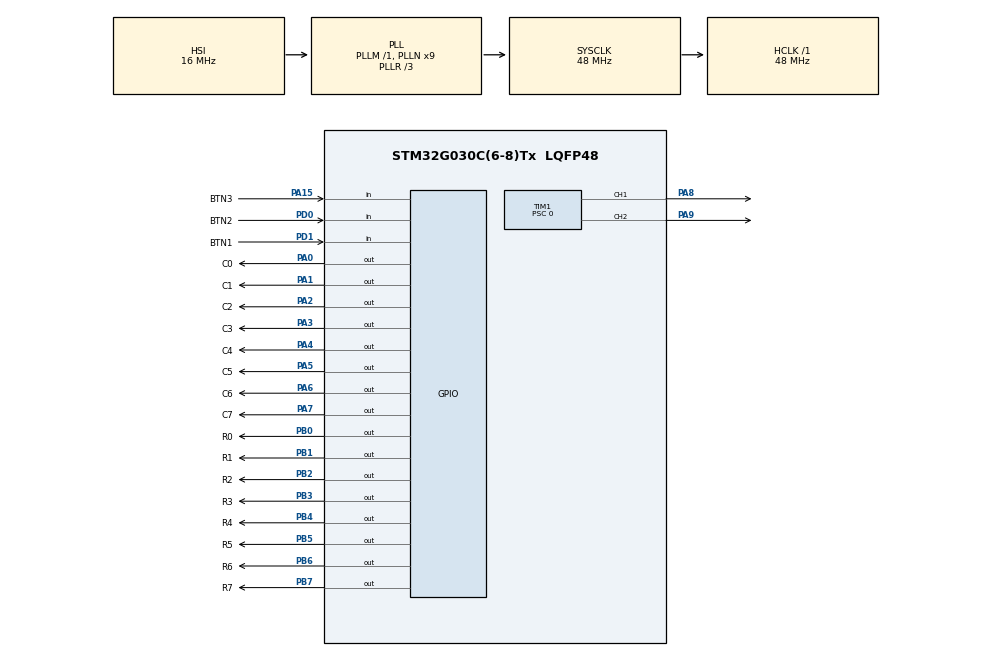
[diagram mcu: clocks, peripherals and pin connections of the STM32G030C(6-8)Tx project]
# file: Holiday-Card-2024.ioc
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ADC1.Channel-0\#ChannelRegularConversion=ADC_CHANNEL_VREFINT
ADC1.NbrOfConversionFlag=1
ADC1.Rank-0\#ChannelRegularConversion=1
ADC1.SamplingTime-0\#ChannelRegularConversion=ADC_SAMPLINGTIME_COMMON_1
ADC1.SamplingTimeCommon1=ADC_SAMPLETIME_39CYCLES_5
ADC1.SamplingTimeCommon2=ADC_SAMPLETIME_39CYCLES_5
ADC1.SelectedChannel=ADC_CHANNEL_VREFINT
ADC1.master=1
Mcu.Family=STM32G0
Mcu.Name=STM32G030C(6-8)Tx
Mcu.Package=LQFP48
NVIC.ADC1_IRQn=true\:0\:0\:false\:false\:true\:true\:true\:true
NVIC.TIM14_IRQn=true\:0\:0\:false\:false\:true\:true\:true\:true
NVIC.TIM16_IRQn=true\:0\:0\:false\:false\:true\:true\:true\:true
NVIC.TIM3_IRQn=true\:0\:0\:false\:false\:true\:true\:true\:true
PA0.GPIO_Label=C0
PA0.GPIO_Speed=GPIO_SPEED_FREQ_LOW
PA0.Signal=GPIO_Output
PA1.GPIO_Label=C1
PA1.GPIO_Speed=GPIO_SPEED_FREQ_LOW
PA1.Signal=GPIO_Output
PA13.Mode=Serial_Wire
PA13.Signal=SYS_SWDIO
PA14-BOOT0.Mode=Serial_Wire
PA14-BOOT0.Signal=SYS_SWCLK
PA15.GPIO_Label=BTN3
PA15.Signal=GPIO_Input
PA2.GPIO_Label=C2
PA2.GPIO_Speed=GPIO_SPEED_FREQ_LOW
PA2.Signal=GPIO_Output
PA3.GPIO_Label=C3
PA3.GPIO_Speed=GPIO_SPEED_FREQ_LOW
PA3.Signal=GPIO_Output
PA4.GPIO_Label=C4
PA4.GPIO_Speed=GPIO_SPEED_FREQ_LOW
PA4.Signal=GPIO_Output
PA5.GPIO_Label=C5
PA5.GPIO_Speed=GPIO_SPEED_FREQ_LOW
PA5.Signal=GPIO_Output
PA6.GPIO_Label=C6
PA6.GPIO_Speed=GPIO_SPEED_FREQ_LOW
PA6.Signal=GPIO_Output
PA7.GPIO_Label=C7
PA7.GPIO_Speed=GPIO_SPEED_FREQ_LOW
PA7.Signal=GPIO_Output
PA8.Signal=S_TIM1_CH1
PA9.Signal=S_TIM1_CH2
PB0.GPIO_Label=R0
PB0.GPIO_Speed=GPIO_SPEED_FREQ_LOW
PB0.Signal=GPIO_Output
PB1.GPIO_Label=R1
PB1.GPIO_Speed=GPIO_SPEED_FREQ_LOW
PB1.Signal=GPIO_Output
PB2.GPIO_Label=R2
PB2.GPIO_Speed=GPIO_SPEED_FREQ_LOW
PB2.Signal=GPIO_Output
PB3.GPIO_Label=R3
PB3.GPIO_Speed=GPIO_SPEED_FREQ_LOW
PB3.Signal=GPIO_Output
PB4.GPIO_Label=R4
PB4.GPIO_Speed=GPIO_SPEED_FREQ_LOW
PB4.Signal=GPIO_Output
PB5.GPIO_Label=R5
PB5.GPIO_Speed=GPIO_SPEED_FREQ_LOW
PB5.Signal=GPIO_Output
PB6.GPIO_Label=R6
PB6.GPIO_Speed=GPIO_SPEED_FREQ_LOW
PB6.Signal=GPIO_Output
PB7.GPIO_Label=R7
PB7.GPIO_Speed=GPIO_SPEED_FREQ_LOW
PB7.Signal=GPIO_Output
PC13.Mode=SYS_WakeUp1
PC13.Signal=SYS_WKUP2
PC14-OSC32_IN\ (PC14).Mode=LSE-External-Oscillator
PC14-OSC32_IN\ (PC14).Signal=RCC_OSC32_IN
PC15-OSC32_OUT\ (PC15).Mode=LSE-External-Oscillator
PC15-OSC32_OUT\ (PC15).Signal=RCC_OSC32_OUT
PD0.GPIO_Label=BTN2
PD0.Signal=GPIO_Input
PD1.GPIO_Label=BTN1
PD1.Signal=GPIO_Input
ProjectManager.HeapSize=0x200
ProjectManager.StackSize=0x400
ProjectManager.TargetToolchain=STM32CubeIDE
RCC.ADCFreq_Value=48000000
RCC.AHBFreq_Value=48000000
RCC.CortexFreq_Value=48000000
RCC.EXTERNAL_CLOCK_VALUE=12288000
RCC.HCLKFreq_Value=48000000
RCC.HSE_VALUE=8000000
RCC.HSI_VALUE=16000000
RCC.PLLN=9
RCC.PLLR=RCC_PLLR_DIV3
RCC.RTCClockSelection=RCC_RTCCLKSOURCE_LSE
RCC.SYSCLKFreq_VALUE=48000000
RCC.SYSCLKSource=RCC_SYSCLKSOURCE_PLLCLK
RCC.VCOOutputFreq_Value=144000000
SH.S_TIM1_CH1.0=TIM1_CH1,PWM Generation1 CH1
SH.S_TIM1_CH2.0=TIM1_CH2,PWM Generation2 CH2
TIM1.AutoReloadPreload=TIM_AUTORELOAD_PRELOAD_ENABLE
TIM1.Channel-PWM\ Generation1\ CH1=TIM_CHANNEL_1
TIM1.Channel-PWM\ Generation2\ CH2=TIM_CHANNEL_2
TIM1.Period=4000
TIM1.Prescaler=0
TIM14.Channel=TIM_CHANNEL_1
TIM14.OCMode_1=TIM_OCMODE_TIMING
TIM14.Period=416 - 1
TIM14.Prescaler=1600 - 1
TIM16.Prescaler=16000 - 1
TIM3.Channel-Output\ Compare1\ No\ Output=TIM_CHANNEL_1
TIM3.Channel-Output\ Compare2\ No\ Output=TIM_CHANNEL_2
TIM3.Period=41 - 1
TIM3.Prescaler=64 - 1
VP_ADC1_Vref_Input.Mode=IN-Vrefint
VP_RTC_VS_RTC_Activate.Mode=RTC_Enabled
VP_RTC_VS_RTC_Calendar.Mode=RTC_Calendar
VP_TIM14_VS_ClockSourceINT.Mode=Enable_Timer
VP_TIM14_VS_no_output1.Mode=Output Compare1 No Output
VP_TIM16_VS_ClockSourceINT.Mode=Enable_Timer
VP_TIM1_VS_ClockSourceINT.Mode=Internal
VP_TIM3_VS_ClockSourceINT.Mode=Internal
VP_TIM3_VS_no_output1.Mode=Output Compare1 No Output
VP_TIM3_VS_no_output2.Mode=Output Compare2 No Output
board=custom

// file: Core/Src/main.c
/* USER CODE BEGIN Header */
/**
  ******************************************************************************
  * @file           : main.c
  * @brief          : Main program body
  ******************************************************************************
  * @attention
  *
  * Copyright (c) 2024 STMicroelectronics.
  * All rights reserved.
  *
  * This software is licensed under terms that can be found in the LICENSE file
  * in the root directory of this software component.
  * If no LICENSE file comes with this software, it is provided AS-IS.
  *
  ******************************************************************************
  */
/* USER CODE END Header */
#include "main.h"

/* USER CODE BEGIN Includes */
#include "buzzer.h"
#include "display.h"
#include <stdio.h>
#include <string.h>
/* USER CODE END Includes */

/* USER CODE BEGIN PD */
#define NOTE_B0  31
#define NOTE_C1  33
#define NOTE_CS1 35
#define NOTE_D1  37
#define NOTE_DS1 39
#define NOTE_E1  41
#define NOTE_F1  44
#define NOTE_FS1 46
#define NOTE_G1  49
#define NOTE_GS1 52
#define NOTE_A1  55
#define NOTE_AS1 58
#define NOTE_B1  62
#define NOTE_C2  65
#define NOTE_CS2 69
#define NOTE_D2  73
#define NOTE_DS2 78
#define NOTE_E2  82
#define NOTE_F2  87
#define NOTE_FS2 93
#define NOTE_G2  98
#define NOTE_GS2 104
#define NOTE_A2  110
#define NOTE_AS2 117
#define NOTE_B2  123
#define NOTE_C3  131
#define NOTE_CS3 139
#define NOTE_D3  147
#define NOTE_DS3 156
#define NOTE_E3  165
#define NOTE_F3  175
#define NOTE_FS3 185
#define NOTE_G3  196
#define NOTE_GS3 208
#define NOTE_A3  220
#define NOTE_AS3 233
#define NOTE_B3  247
#define NOTE_C4  262
#define NOTE_CS4 277
#define NOTE_D4  294
#define NOTE_DS4 311
#define NOTE_E4  330
#define NOTE_F4  349
#define NOTE_FS4 370
#define NOTE_G4  392
#define NOTE_GS4 415
#define NOTE_A4  440
#define NOTE_AS4 466
#define NOTE_B4  494
#define NOTE_C5  523
#define NOTE_CS5 554
#define NOTE_D5  587
#define NOTE_DS5 622
#define NOTE_E5  659
#define NOTE_F5  698
#define NOTE_FS5 740
#define NOTE_G5  784
#define NOTE_GS5 831
#define NOTE_A5  880
#define NOTE_AS5 932
#define NOTE_B5  988
#define NOTE_C6  1047
#define NOTE_CS6 1109
#define NOTE_D6  1175
#define NOTE_DS6 1245
#define NOTE_E6  1319
#define NOTE_F6  1397
#define NOTE_FS6 1480
#define NOTE_G6  1568
#define NOTE_GS6 1661
#define NOTE_A6  1760
#define NOTE_AS6 1865
#define NOTE_B6  1976
#define NOTE_C7  2093
#define NOTE_CS7 2217
#define NOTE_D7  2349
#define NOTE_DS7 2489
#define NOTE_E7  2637
#define NOTE_F7  2794
#define NOTE_FS7 2960
#define NOTE_G7  3136
#define NOTE_GS7 3322
#define NOTE_A7  3520
#define NOTE_AS7 3729
#define NOTE_B7  3951
#define NOTE_C8  4186
#define NOTE_CS8 4435
#define NOTE_D8  4699
#define NOTE_DS8 4978

//#define noteSpace 24
//#define noteSpace2 12
//#define _16thNote 110
//#define dotted16th 165
//#define _8thNote 220
//#define dotted8th 330
#define _4thNote 440
#define dotted4th 660
#define halfNote 880
#define dottedHalf 1320
#define wholeNote 1760

#define noteSpace 12
#define noteSpace2 6
#define _16thNote 55
#define dotted16th 83
#define _8thNote 110
#define dotted8th 165

/* USER CODE END PD */

ADC_HandleTypeDef hadc1;

RTC_HandleTypeDef hrtc;

TIM_HandleTypeDef htim1;
TIM_HandleTypeDef htim3;
TIM_HandleTypeDef htim14;
TIM_HandleTypeDef htim16;

void SystemClock_Config(void);
static void MX_GPIO_Init(void);
static void MX_RTC_Init(void);
static void MX_TIM14_Init(void);
static void MX_TIM16_Init(void);
static void MX_TIM1_Init(void);
static void MX_ADC1_Init(void);
static void MX_TIM3_Init(void);
/* USER CODE BEGIN PFP */
void writeLED(uint8_t LED, uint8_t state);
void generate_BSRR_array(uint8_t pixel_values[8], volatile uint32_t BSRR_row_array[64], volatile uint32_t BSRR_column_array[64]);
/* USER CODE END PFP */

/* USER CODE BEGIN 0 */

volatile uint8_t pixel_index = 0;
volatile uint32_t test_row_array[64] = {0};
volatile uint32_t test_column_array[64] = {0};

//Easy way to see if data being processed properly
static uint8_t test_image1[8] = {
0xFF,
0x0,
0xFF,
0x0,
0xFF,
0x0,
0xFF,
0x0,
};

static uint8_t test_image2[8] = {
0b10000000,
0x0,
0x0,
0x0,
0x0,
0x0,
0x0,
0x0,
};

static uint8_t test_image3[8] = {
0xFF,
0x0,
0x0,
0x0,
0x0,
0x0,
0x0,
0x0,
};

static uint8_t test_image4[8] = {
0xFF,
0xFF,
0xFF,
0xFF,
0xFF,
0xFF,
0xFF,
0xFF,
};

display_HandleTypeDef display;
buzzer_HandleTypeDef buzzer;

/* USER CODE END 0 */

int main(void)
{

  /* MCU Configuration--------------------------------------------------------*/

  /* Reset of all peripherals, Initializes the Flash interface and the Systick. */
  HAL_Init();

  /* Configure the system clock */
  SystemClock_Config();

  /* Initialize all configured peripherals */
  MX_GPIO_Init();
  MX_RTC_Init();
  MX_TIM14_Init();
  MX_TIM16_Init();
  MX_TIM1_Init();
  MX_ADC1_Init();
  MX_TIM3_Init();
  /* USER CODE BEGIN 2 */

	// Always calibrate ADC first
	HAL_ADCEx_Calibration_Start(&hadc1);

	// Start the conversion sequence
	HAL_ADC_Start(&hadc1);
	HAL_ADC_PollForConversion(&hadc1, 0xFFFF);
	uint32_t vrefint_raw = HAL_ADC_GetValue(&hadc1);
	/*
	 * This macro calculates the vdda voltage (as a uint32_t representing the voltage in milliVolts)
	 * using the vref internal raw adc value, and the internal calibration value in ROM
	 */
	uint32_t vdda_voltage = __HAL_ADC_CALC_VREFANALOG_VOLTAGE(vrefint_raw, ADC_RESOLUTION_12B);
	__NOP();

	/*
	 * Column is anode
	 * Row is cathode
	 * To turn on an LED, set the column high and the row low
	 */

	generate_BSRR_array(test_image1, test_row_array, test_column_array);
	HAL_TIM_Base_Start_IT(&htim3);
	__NOP();

  /* USER CODE END 2 */

  /* Infinite loop */
  /* USER CODE BEGIN WHILE */
  while (1)
  {
//	  GPIOB->BSRR = test_row_array[pixel_index];
//	  GPIOA->BSRR = test_column_array[pixel_index];
//	  //HAL_Delay(1);
//
//	  pixel_index++;
//
//	  if (pixel_index > 63){
//		  pixel_index = 0;
//	  }
	  //HAL_Delay(1000);

    /* USER CODE END WHILE */

  }
}

void SystemClock_Config(void)
{
  RCC_OscInitTypeDef RCC_OscInitStruct = {0};
  RCC_ClkInitTypeDef RCC_ClkInitStruct = {0};

  /** Configure the main internal regulator output voltage
  */
  HAL_PWREx_ControlVoltageScaling(PWR_REGULATOR_VOLTAGE_SCALE1);

  /** Configure LSE Drive Capability
  */
  HAL_PWR_EnableBkUpAccess();
  __HAL_RCC_LSEDRIVE_CONFIG(RCC_LSEDRIVE_LOW);

  /** Initializes the RCC Oscillators according to the specified parameters
  * in the RCC_OscInitTypeDef structure.
  */
  RCC_OscInitStruct.OscillatorType = RCC_OSCILLATORTYPE_HSI|RCC_OSCILLATORTYPE_LSE;
  RCC_OscInitStruct.LSEState = RCC_LSE_ON;
  RCC_OscInitStruct.HSIState = RCC_HSI_ON;
  RCC_OscInitStruct.HSIDiv = RCC_HSI_DIV1;
  RCC_OscInitStruct.HSICalibrationValue = RCC_HSICALIBRATION_DEFAULT;
  RCC_OscInitStruct.PLL.PLLState = RCC_PLL_ON;
  RCC_OscInitStruct.PLL.PLLSource = RCC_PLLSOURCE_HSI;
  RCC_OscInitStruct.PLL.PLLM = RCC_PLLM_DIV1;
  RCC_OscInitStruct.PLL.PLLN = 9;
  RCC_OscInitStruct.PLL.PLLP = RCC_PLLP_DIV2;
  RCC_OscInitStruct.PLL.PLLR = RCC_PLLR_DIV3;
  if (HAL_RCC_OscConfig(&RCC_OscInitStruct) != HAL_OK)
  {
    Error_Handler();
  }

  /** Initializes the CPU, AHB and APB buses clocks
  */
  RCC_ClkInitStruct.ClockType = RCC_CLOCKTYPE_HCLK|RCC_CLOCKTYPE_SYSCLK
                              |RCC_CLOCKTYPE_PCLK1;
  RCC_ClkInitStruct.SYSCLKSource = RCC_SYSCLKSOURCE_PLLCLK;
  RCC_ClkInitStruct.AHBCLKDivider = RCC_SYSCLK_DIV1;
  RCC_ClkInitStruct.APB1CLKDivider = RCC_HCLK_DIV1;

  if (HAL_RCC_ClockConfig(&RCC_ClkInitStruct, FLASH_LATENCY_1) != HAL_OK)
  {
    Error_Handler();
  }
}

static void MX_ADC1_Init(void)
{

  ADC_ChannelConfTypeDef sConfig = {0};

  /** Configure the global features of the ADC (Clock, Resolution, Data Alignment and number of conversion)
  */
  hadc1.Instance = ADC1;
  hadc1.Init.ClockPrescaler = ADC_CLOCK_SYNC_PCLK_DIV2;
  hadc1.Init.Resolution = ADC_RESOLUTION_12B;
  hadc1.Init.DataAlign = ADC_DATAALIGN_RIGHT;
  hadc1.Init.ScanConvMode = ADC_SCAN_DISABLE;
  hadc1.Init.EOCSelection = ADC_EOC_SINGLE_CONV;
  hadc1.Init.LowPowerAutoWait = DISABLE;
  hadc1.Init.LowPowerAutoPowerOff = DISABLE;
  hadc1.Init.ContinuousConvMode = DISABLE;
  hadc1.Init.NbrOfConversion = 1;
  hadc1.Init.DiscontinuousConvMode = DISABLE;
  hadc1.Init.ExternalTrigConv = ADC_SOFTWARE_START;
  hadc1.Init.ExternalTrigConvEdge = ADC_EXTERNALTRIGCONVEDGE_NONE;
  hadc1.Init.DMAContinuousRequests = DISABLE;
  hadc1.Init.Overrun = ADC_OVR_DATA_PRESERVED;
  hadc1.Init.SamplingTimeCommon1 = ADC_SAMPLETIME_39CYCLES_5;
  hadc1.Init.SamplingTimeCommon2 = ADC_SAMPLETIME_39CYCLES_5;
  hadc1.Init.OversamplingMode = DISABLE;
  hadc1.Init.TriggerFrequencyMode = ADC_TRIGGER_FREQ_HIGH;
  if (HAL_ADC_Init(&hadc1) != HAL_OK)
  {
    Error_Handler();
  }

  /** Configure Regular Channel
  */
  sConfig.Channel = ADC_CHANNEL_VREFINT;
  sConfig.Rank = ADC_REGULAR_RANK_1;
  sConfig.SamplingTime = ADC_SAMPLINGTIME_COMMON_1;
  if (HAL_ADC_ConfigChannel(&hadc1, &sConfig) != HAL_OK)
  {
    Error_Handler();
  }

}

static void MX_RTC_Init(void)
{

  RTC_TimeTypeDef sTime = {0};
  RTC_DateTypeDef sDate = {0};

  /** Initialize RTC Only
  */
  hrtc.Instance = RTC;
  hrtc.Init.HourFormat = RTC_HOURFORMAT_24;
  hrtc.Init.AsynchPrediv = 127;
  hrtc.Init.SynchPrediv = 255;
  hrtc.Init.OutPut = RTC_OUTPUT_DISABLE;
  hrtc.Init.OutPutRemap = RTC_OUTPUT_REMAP_NONE;
  hrtc.Init.OutPutPolarity = RTC_OUTPUT_POLARITY_HIGH;
  hrtc.Init.OutPutType = RTC_OUTPUT_TYPE_OPENDRAIN;
  hrtc.Init.OutPutPullUp = RTC_OUTPUT_PULLUP_NONE;
  if (HAL_RTC_Init(&hrtc) != HAL_OK)
  {
    Error_Handler();
  }

  /** Initialize RTC and set the Time and Date
  */
  sTime.Hours = 0x0;
  sTime.Minutes = 0x0;
  sTime.Seconds = 0x0;
  sTime.SubSeconds = 0x0;
  sTime.DayLightSaving = RTC_DAYLIGHTSAVING_NONE;
  sTime.StoreOperation = RTC_STOREOPERATION_RESET;
  if (HAL_RTC_SetTime(&hrtc, &sTime, RTC_FORMAT_BCD) != HAL_OK)
  {
    Error_Handler();
  }
  sDate.WeekDay = RTC_WEEKDAY_MONDAY;
  sDate.Month = RTC_MONTH_JANUARY;
  sDate.Date = 0x1;
  sDate.Year = 0x0;

  if (HAL_RTC_SetDate(&hrtc, &sDate, RTC_FORMAT_BCD) != HAL_OK)
  {
    Error_Handler();
  }

}

static void MX_TIM1_Init(void)
{

  TIM_ClockConfigTypeDef sClockSourceConfig = {0};
  TIM_MasterConfigTypeDef sMasterConfig = {0};
  TIM_OC_InitTypeDef sConfigOC = {0};
  TIM_BreakDeadTimeConfigTypeDef sBreakDeadTimeConfig = {0};

  htim1.Instance = TIM1;
  htim1.Init.Prescaler = 0;
  htim1.Init.CounterMode = TIM_COUNTERMODE_UP;
  htim1.Init.Period = 4000;
  htim1.Init.ClockDivision = TIM_CLOCKDIVISION_DIV1;
  htim1.Init.RepetitionCounter = 0;
  htim1.Init.AutoReloadPreload = TIM_AUTORELOAD_PRELOAD_ENABLE;
  if (HAL_TIM_Base_Init(&htim1) != HAL_OK)
  {
    Error_Handler();
  }
  sClockSourceConfig.ClockSource = TIM_CLOCKSOURCE_INTERNAL;
  if (HAL_TIM_ConfigClockSource(&htim1, &sClockSourceConfig) != HAL_OK)
  {
    Error_Handler();
  }
  if (HAL_TIM_PWM_Init(&htim1) != HAL_OK)
  {
    Error_Handler();
  }
  sMasterConfig.MasterOutputTrigger = TIM_TRGO_RESET;
  sMasterConfig.MasterOutputTrigger2 = TIM_TRGO2_RESET;
  sMasterConfig.MasterSlaveMode = TIM_MASTERSLAVEMODE_DISABLE;
  if (HAL_TIMEx_MasterConfigSynchronization(&htim1, &sMasterConfig) != HAL_OK)
  {
    Error_Handler();
  }
  sConfigOC.OCMode = TIM_OCMODE_PWM1;
  sConfigOC.Pulse = 0;
  sConfigOC.OCPolarity = TIM_OCPOLARITY_HIGH;
  sConfigOC.OCNPolarity = TIM_OCNPOLARITY_HIGH;
  sConfigOC.OCFastMode = TIM_OCFAST_DISABLE;
  sConfigOC.OCIdleState = TIM_OCIDLESTATE_RESET;
  sConfigOC.OCNIdleState = TIM_OCNIDLESTATE_RESET;
  if (HAL_TIM_PWM_ConfigChannel(&htim1, &sConfigOC, TIM_CHANNEL_1) != HAL_OK)
  {
    Error_Handler();
  }
  if (HAL_TIM_PWM_ConfigChannel(&htim1, &sConfigOC, TIM_CHANNEL_2) != HAL_OK)
  {
    Error_Handler();
  }
  sBreakDeadTimeConfig.OffStateRunMode = TIM_OSSR_DISABLE;
  sBreakDeadTimeConfig.OffStateIDLEMode = TIM_OSSI_DISABLE;
  sBreakDeadTimeConfig.LockLevel = TIM_LOCKLEVEL_OFF;
  sBreakDeadTimeConfig.DeadTime = 0;
  sBreakDeadTimeConfig.BreakState = TIM_BREAK_DISABLE;
  sBreakDeadTimeConfig.BreakPolarity = TIM_BREAKPOLARITY_HIGH;
  sBreakDeadTimeConfig.BreakFilter = 0;
  sBreakDeadTimeConfig.BreakAFMode = TIM_BREAK_AFMODE_INPUT;
  sBreakDeadTimeConfig.Break2State = TIM_BREAK2_DISABLE;
  sBreakDeadTimeConfig.Break2Polarity = TIM_BREAK2POLARITY_HIGH;
  sBreakDeadTimeConfig.Break2Filter = 0;
  sBreakDeadTimeConfig.Break2AFMode = TIM_BREAK_AFMODE_INPUT;
  sBreakDeadTimeConfig.AutomaticOutput = TIM_AUTOMATICOUTPUT_DISABLE;
  if (HAL_TIMEx_ConfigBreakDeadTime(&htim1, &sBreakDeadTimeConfig) != HAL_OK)
  {
    Error_Handler();
  }
  HAL_TIM_MspPostInit(&htim1);

}

static void MX_TIM3_Init(void)
{

  TIM_ClockConfigTypeDef sClockSourceConfig = {0};
  TIM_MasterConfigTypeDef sMasterConfig = {0};
  TIM_OC_InitTypeDef sConfigOC = {0};

  htim3.Instance = TIM3;
  htim3.Init.Prescaler = 64 - 1;
  htim3.Init.CounterMode = TIM_COUNTERMODE_UP;
  htim3.Init.Period = 41 - 1;
  htim3.Init.ClockDivision = TIM_CLOCKDIVISION_DIV1;
  htim3.Init.AutoReloadPreload = TIM_AUTORELOAD_PRELOAD_DISABLE;
  if (HAL_TIM_Base_Init(&htim3) != HAL_OK)
  {
    Error_Handler();
  }
  sClockSourceConfig.ClockSource = TIM_CLOCKSOURCE_INTERNAL;
  if (HAL_TIM_ConfigClockSource(&htim3, &sClockSourceConfig) != HAL_OK)
  {
    Error_Handler();
  }
  if (HAL_TIM_OC_Init(&htim3) != HAL_OK)
  {
    Error_Handler();
  }
  sMasterConfig.MasterOutputTrigger = TIM_TRGO_RESET;
  sMasterConfig.MasterSlaveMode = TIM_MASTERSLAVEMODE_DISABLE;
  if (HAL_TIMEx_MasterConfigSynchronization(&htim3, &sMasterConfig) != HAL_OK)
  {
    Error_Handler();
  }
  sConfigOC.OCMode = TIM_OCMODE_TIMING;
  sConfigOC.Pulse = 0;
  sConfigOC.OCPolarity = TIM_OCPOLARITY_HIGH;
  sConfigOC.OCFastMode = TIM_OCFAST_DISABLE;
  if (HAL_TIM_OC_ConfigChannel(&htim3, &sConfigOC, TIM_CHANNEL_1) != HAL_OK)
  {
    Error_Handler();
  }
  if (HAL_TIM_OC_ConfigChannel(&htim3, &sConfigOC, TIM_CHANNEL_2) != HAL_OK)
  {
    Error_Handler();
  }

}

static void MX_TIM14_Init(void)
{

  TIM_OC_InitTypeDef sConfigOC = {0};

  htim14.Instance = TIM14;
  htim14.Init.Prescaler = 1600 - 1;
  htim14.Init.CounterMode = TIM_COUNTERMODE_UP;
  htim14.Init.Period = 416 - 1;
  htim14.Init.ClockDivision = TIM_CLOCKDIVISION_DIV1;
  htim14.Init.AutoReloadPreload = TIM_AUTORELOAD_PRELOAD_DISABLE;
  if (HAL_TIM_Base_Init(&htim14) != HAL_OK)
  {
    Error_Handler();
  }
  if (HAL_TIM_OC_Init(&htim14) != HAL_OK)
  {
    Error_Handler();
  }
  sConfigOC.OCMode = TIM_OCMODE_TIMING;
  sConfigOC.Pulse = 0;
  sConfigOC.OCPolarity = TIM_OCPOLARITY_HIGH;
  sConfigOC.OCFastMode = TIM_OCFAST_DISABLE;
  if (HAL_TIM_OC_ConfigChannel(&htim14, &sConfigOC, TIM_CHANNEL_1) != HAL_OK)
  {
    Error_Handler();
  }

}

static void MX_TIM16_Init(void)
{

  htim16.Instance = TIM16;
  htim16.Init.Prescaler = 16000 - 1;
  htim16.Init.CounterMode = TIM_COUNTERMODE_UP;
  htim16.Init.Period = 65535;
  htim16.Init.ClockDivision = TIM_CLOCKDIVISION_DIV1;
  htim16.Init.RepetitionCounter = 0;
  htim16.Init.AutoReloadPreload = TIM_AUTORELOAD_PRELOAD_DISABLE;
  if (HAL_TIM_Base_Init(&htim16) != HAL_OK)
  {
    Error_Handler();
  }

}

static void MX_GPIO_Init(void)
{
  GPIO_InitTypeDef GPIO_InitStruct = {0};

  /* GPIO Ports Clock Enable */
  __HAL_RCC_GPIOC_CLK_ENABLE();
  __HAL_RCC_GPIOA_CLK_ENABLE();
  __HAL_RCC_GPIOB_CLK_ENABLE();
  __HAL_RCC_GPIOD_CLK_ENABLE();

  /*Configure GPIO pin Output Level */
  HAL_GPIO_WritePin(GPIOA, C0_Pin|C1_Pin|C2_Pin|C3_Pin
                          |C4_Pin|C5_Pin|C6_Pin|C7_Pin, GPIO_PIN_RESET);

  /*Configure GPIO pin Output Level */
  HAL_GPIO_WritePin(GPIOB, R0_Pin|R1_Pin|R2_Pin|R3_Pin
                          |R4_Pin|R5_Pin|R6_Pin|R7_Pin, GPIO_PIN_RESET);

  /*Configure GPIO pins : C0_Pin C1_Pin C2_Pin C3_Pin
                           C4_Pin C5_Pin C6_Pin C7_Pin */
  GPIO_InitStruct.Pin = C0_Pin|C1_Pin|C2_Pin|C3_Pin
                          |C4_Pin|C5_Pin|C6_Pin|C7_Pin;
  GPIO_InitStruct.Mode = GPIO_MODE_OUTPUT_PP;
  GPIO_InitStruct.Pull = GPIO_NOPULL;
  GPIO_InitStruct.Speed = GPIO_SPEED_FREQ_LOW;
  HAL_GPIO_Init(GPIOA, &GPIO_InitStruct);

  /*Configure GPIO pins : R0_Pin R1_Pin R2_Pin R3_Pin
                           R4_Pin R5_Pin R6_Pin R7_Pin */
  GPIO_InitStruct.Pin = R0_Pin|R1_Pin|R2_Pin|R3_Pin
                          |R4_Pin|R5_Pin|R6_Pin|R7_Pin;
  GPIO_InitStruct.Mode = GPIO_MODE_OUTPUT_PP;
  GPIO_InitStruct.Pull = GPIO_NOPULL;
  GPIO_InitStruct.Speed = GPIO_SPEED_FREQ_LOW;
  HAL_GPIO_Init(GPIOB, &GPIO_InitStruct);

  /*Configure GPIO pin : BTN3_Pin */
  GPIO_InitStruct.Pin = BTN3_Pin;
  GPIO_InitStruct.Mode = GPIO_MODE_INPUT;
  GPIO_InitStruct.Pull = GPIO_NOPULL;
  HAL_GPIO_Init(BTN3_GPIO_Port, &GPIO_InitStruct);

  /*Configure GPIO pins : BTN2_Pin BTN1_Pin */
  GPIO_InitStruct.Pin = BTN2_Pin|BTN1_Pin;
  GPIO_InitStruct.Mode = GPIO_MODE_INPUT;
  GPIO_InitStruct.Pull = GPIO_NOPULL;
  HAL_GPIO_Init(GPIOD, &GPIO_InitStruct);

}

/* USER CODE BEGIN 4 */

void HAL_TIM_PeriodElapsedCallback(TIM_HandleTypeDef *htim) {

	if (htim == buzzer.interrupt_timer) {
		//buzzer_interrupt(&buzzer);
	}

	else if (htim == &htim3){

		GPIOB->BSRR = test_row_array[pixel_index];
		GPIOA->BSRR = test_column_array[pixel_index];
		pixel_index++;

		if (pixel_index > 63){
		  pixel_index = 0;
		}
	}
}

//Take an array of pixel values in the form uint8_t pixel_values[8]
//convert it to two arrays of data to be sent to the BSRR registers the form uint8_t data[64]
void generate_BSRR_array(uint8_t pixel_values[8], volatile uint32_t BSRR_row_array[64], volatile uint32_t BSRR_column_array[64]){

	//Rows are the LED cathodes on port B.
	//Row 0 is PB0, Row 7 is PB7
	//Columns are LED anodes on port A
	//Column 0 is PB0, Column 7 is PB7
	//MSB of pixel value corresponds to column 0

	uint8_t input_column_index = 0;	//keeps track of the current bit in the row
	uint8_t input_row_index = 0;	//Keeps track of the current row

	//Calculate the BSRR values for every pixel
	for (uint8_t pixel_index = 0; pixel_index < 64; pixel_index++){
		//Check the value of the pixel we are interested in
		//if ((pixel_values[input_row_index] >> input_column_index) & 1){
		if ((pixel_values[input_row_index] >> (7 - input_column_index)) & 1){	//reverse the order so the MSB of the pixel array coresponds to column 0

			//Calculate the BSRR registers for row and column in order to set the pixel high
			//Turn off the row pin we want and turn on all other row pins
			//Turn on the column pin we want and turn off all other columns.

			uint32_t BSRR_row = 0x0000FFFF;	//All row pins start set

			//Reset the pin we want
			BSRR_row &= ~(1 << input_row_index);       // clear chosen row in lower half
			BSRR_row |=  1 << (input_row_index + 16);  // set reset bit in upper half
			BSRR_row_array[pixel_index] = BSRR_row;

			uint32_t BSRR_column = 0xFFFF0000;	//All column pins start reset

			//Set the pin we want
			BSRR_column &= ~(1 << (input_column_index + 16));
			BSRR_column |= 1 << (input_column_index);
			BSRR_column_array[pixel_index] = BSRR_column;
		}

		else {
			//Calculate the BSRR registers for row and column in order to set the pixel low
			//Turn off both row and column pins
			BSRR_row_array[pixel_index] = 0xFFFF00;
			BSRR_column_array[pixel_index] = 0xFFFF00;
		}

		input_column_index++;

		//Once every bit in the row is processed, go to the next row and start from bit 0 again
		if (input_column_index > 7){
			input_column_index = 0;
			input_row_index++;
		}
	}
}

/* USER CODE END 4 */

void Error_Handler(void)
{
  __disable_irq();
  while (1)
  {
  }
}
